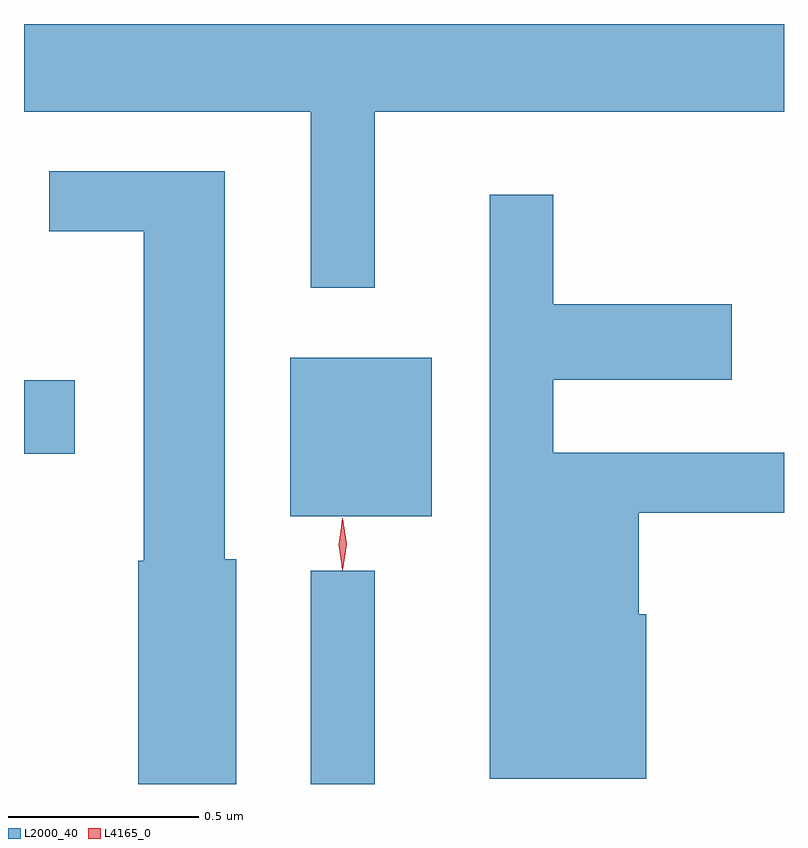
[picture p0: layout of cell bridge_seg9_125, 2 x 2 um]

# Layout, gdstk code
import gdstk
lib = gdstk.Library(unit=1e-6, precision=1e-09)
def R(c, l, rs):  # rectangles x0, y0, x1, y1
    for r in rs: c.add(gdstk.rectangle(r[:2], r[2:], *l))
def P(c, l, *ps):  # polygons
    for p in ps: c.add(gdstk.Polygon(p, *l))
L2000_40 = (2000, 40)
L4165_0 = (4165, 0)

bridge_seg9_125 = lib.new_cell('bridge_seg9_125')
R(bridge_seg9_125, L2000_40, [(1750.851,1967.847,1751.019,1968.408), (1750.796,1968.551,1751.169,1968.969), (1750.096,1968.716,1750.229,1968.909)])
P(bridge_seg9_125, L2000_40, [(1751.019,1969.616),(1752.096,1969.616),(1752.096,1969.847),(1750.096,1969.847),(1750.096,1969.616),(1750.851,1969.616),(1750.851,1969.153),(1751.019,1969.153)],
  [(1750.654,1968.439),(1750.624,1968.439),(1750.624,1969.459),(1750.163,1969.459),(1750.163,1969.301),(1750.411,1969.301),(1750.411,1968.435),(1750.396,1968.435),(1750.396,1967.847),(1750.654,1967.847)],
  [(1751.734,1968.294),(1751.714,1968.294),(1751.714,1968.561),(1752.096,1968.561),(1752.096,1968.719),(1751.489,1968.719),(1751.489,1968.911),(1751.959,1968.911),(1751.959,1969.109),(1751.489,1969.109),(1751.489,1969.398),(1751.321,1969.398),(1751.321,1967.861),(1751.734,1967.861)])
P(bridge_seg9_125, L4165_0, [(1750.935,1968.409),(1750.934,1968.41),(1750.925,1968.478),(1750.934,1968.546),(1750.935,1968.546),(1750.935,1968.546),(1750.945,1968.478),(1750.935,1968.41)],
  [(1750.934,1968.413),(1750.924,1968.477),(1750.934,1968.541),(1750.934,1968.542),(1750.935,1968.541),(1750.944,1968.477),(1750.935,1968.413),(1750.935,1968.413)])

lib.write_gds('bridge_seg9_125.gds')
